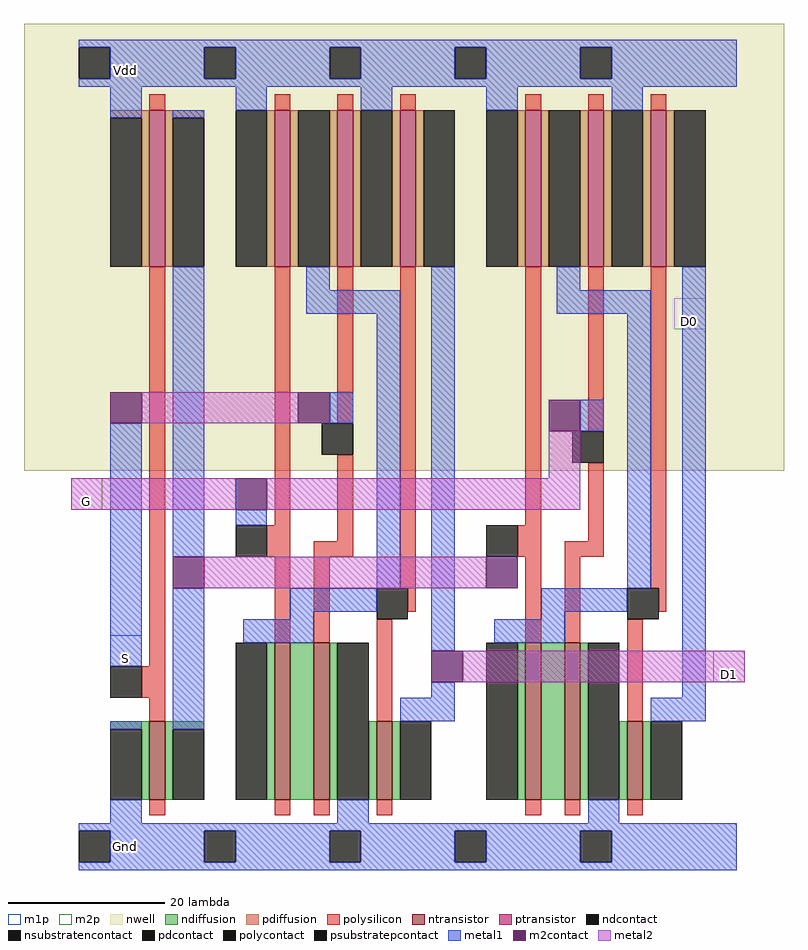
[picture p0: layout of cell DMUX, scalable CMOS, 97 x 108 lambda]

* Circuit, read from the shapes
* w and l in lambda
.subckt DMUX D0 D1 G Gnd S Vdd
M1 n1 S Gnd Gnd nfet w=10 l=2
M2 n2 G n3 Gnd nfet w=20 l=2
M3 Gnd S n2 Gnd nfet w=20 l=2
M4 D1 n3 Gnd Gnd nfet w=10 l=2
M5 n4 n1 n5 Gnd nfet w=20 l=2
M6 Gnd G n4 Gnd nfet w=20 l=2
M7 D0 n5 Gnd Gnd nfet w=10 l=2
M8 n1 S Vdd Vdd pfet w=20 l=2
M9 n3 G Vdd Vdd pfet w=20 l=2
M10 Vdd S n3 Vdd pfet w=20 l=2
M11 D1 n3 Vdd Vdd pfet w=20 l=2
M12 n5 n1 Vdd Vdd pfet w=20 l=2
M13 Vdd G n5 Vdd pfet w=20 l=2
M14 D0 n5 Vdd Vdd pfet w=20 l=2
.ends

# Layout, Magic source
magic
tech scmos
<< nwell >>
rect -19 54 78 111
<< ntransistor >>
rect -3 12 -1 22
rect 13 12 15 32
rect 18 12 20 32
rect 26 12 28 22
rect 45 12 47 32
rect 50 12 52 32
rect 58 12 60 22
<< ptransistor >>
rect -3 80 -1 100
rect 13 80 15 100
rect 21 80 23 100
rect 29 80 31 100
rect 45 80 47 100
rect 53 80 55 100
rect 61 80 63 100
<< ndiffusion >>
rect -8 21 -3 22
rect -4 12 -3 21
rect -1 21 4 22
rect -1 12 0 21
rect 12 12 13 32
rect 15 12 18 32
rect 20 12 21 32
rect 25 12 26 22
rect 28 12 29 22
rect 44 12 45 32
rect 47 12 50 32
rect 52 12 53 32
rect 57 12 58 22
rect 60 12 61 22
<< pdiffusion >>
rect -8 99 -3 100
rect -4 80 -3 99
rect -1 99 4 100
rect -1 80 0 99
rect 12 80 13 100
rect 15 80 16 100
rect 20 80 21 100
rect 23 80 24 100
rect 28 80 29 100
rect 31 80 32 100
rect 44 80 45 100
rect 47 80 48 100
rect 52 80 53 100
rect 55 80 56 100
rect 60 80 61 100
rect 63 80 64 100
<< ndcontact >>
rect -8 12 -4 21
rect 0 12 4 21
rect 8 12 12 32
rect 21 12 25 32
rect 29 12 33 22
rect 40 12 44 32
rect 53 12 57 32
rect 61 12 65 22
<< pdcontact >>
rect -8 80 -4 99
rect 0 80 4 99
rect 8 80 12 100
rect 16 80 20 100
rect 24 80 28 100
rect 32 80 36 100
rect 40 80 44 100
rect 48 80 52 100
rect 56 80 60 100
rect 64 80 68 100
<< psubstratepcontact >>
rect -12 4 -8 8
rect 4 4 8 8
rect 20 4 24 8
rect 36 4 40 8
rect 52 4 56 8
<< nsubstratencontact >>
rect -12 104 -8 108
rect 4 104 8 108
rect 20 104 24 108
rect 36 104 40 108
rect 52 104 56 108
<< polysilicon >>
rect -3 100 -1 102
rect 13 100 15 102
rect 21 100 23 102
rect 29 100 31 102
rect 45 100 47 102
rect 53 100 55 102
rect 61 100 63 102
rect -3 29 -1 80
rect 13 47 15 80
rect 21 60 23 80
rect 12 43 15 47
rect 21 45 23 56
rect 13 32 15 43
rect 18 43 23 45
rect 18 32 20 43
rect 29 39 31 80
rect 45 47 47 80
rect 53 59 55 80
rect 44 43 47 47
rect 53 45 55 55
rect 30 36 31 39
rect -4 25 -1 29
rect -3 22 -1 25
rect 26 22 28 35
rect 45 32 47 43
rect 50 43 55 45
rect 50 32 52 43
rect 61 39 63 80
rect 62 36 63 39
rect 58 22 60 35
rect -3 10 -1 12
rect 13 10 15 12
rect 18 10 20 12
rect 26 10 28 12
rect 45 10 47 12
rect 50 10 52 12
rect 58 10 60 12
<< polycontact >>
rect 19 56 23 60
rect 8 43 12 47
rect 51 55 55 59
rect 40 43 44 47
rect 26 35 30 39
rect -8 25 -4 29
rect 58 35 62 39
<< metal1 >>
rect -12 108 72 109
rect -8 104 4 108
rect 8 104 20 108
rect 24 104 36 108
rect 40 104 52 108
rect 56 104 72 108
rect -12 103 72 104
rect -8 99 -4 103
rect 8 100 12 103
rect 24 100 28 103
rect 40 100 44 103
rect 56 100 60 103
rect 0 99 4 100
rect -8 29 -4 60
rect 0 43 4 80
rect 17 77 20 80
rect 17 74 29 77
rect 20 60 23 64
rect 8 47 12 49
rect 26 39 29 74
rect -8 21 -4 22
rect 0 21 4 39
rect 15 36 26 39
rect 15 35 18 36
rect 9 32 18 35
rect 33 31 36 80
rect 49 77 52 80
rect 49 74 61 77
rect 52 59 55 63
rect 58 39 61 74
rect 47 36 58 39
rect 47 35 50 36
rect 41 32 50 35
rect 33 25 36 27
rect 29 22 36 25
rect 65 25 68 80
rect 61 22 68 25
rect -8 9 -4 12
rect 21 9 25 12
rect 53 9 57 12
rect -12 8 72 9
rect -8 4 4 8
rect 8 4 20 8
rect 24 4 36 8
rect 40 4 52 8
rect 56 4 72 8
rect -12 3 72 4
<< m2contact >>
rect -8 60 -4 64
rect 16 60 20 64
rect 8 49 12 53
rect 0 39 4 43
rect 48 59 52 63
rect 40 39 44 43
rect 33 27 37 31
<< metal2 >>
rect -4 60 16 64
rect 48 53 52 59
rect -13 49 8 53
rect 12 49 52 53
rect 4 39 40 43
rect 37 27 73 31
<< m1p >>
rect 64 72 68 76
rect 16 60 20 64
rect 48 59 52 63
rect 0 39 4 43
rect 40 39 44 43
rect -8 29 -4 33
<< m2p >>
rect -13 49 -9 53
rect 69 27 73 31
<< labels >>
rlabel metal1 66 73 66 73 1 D0
rlabel metal2 71 28 71 28 1 D1
rlabel metal2 -11 50 -11 50 1 G
rlabel metal1 -6 105 -6 105 1 Vdd
rlabel metal1 -6 6 -6 6 1 Gnd
rlabel metal1 -6 30 -6 30 1 S
<< end >>
